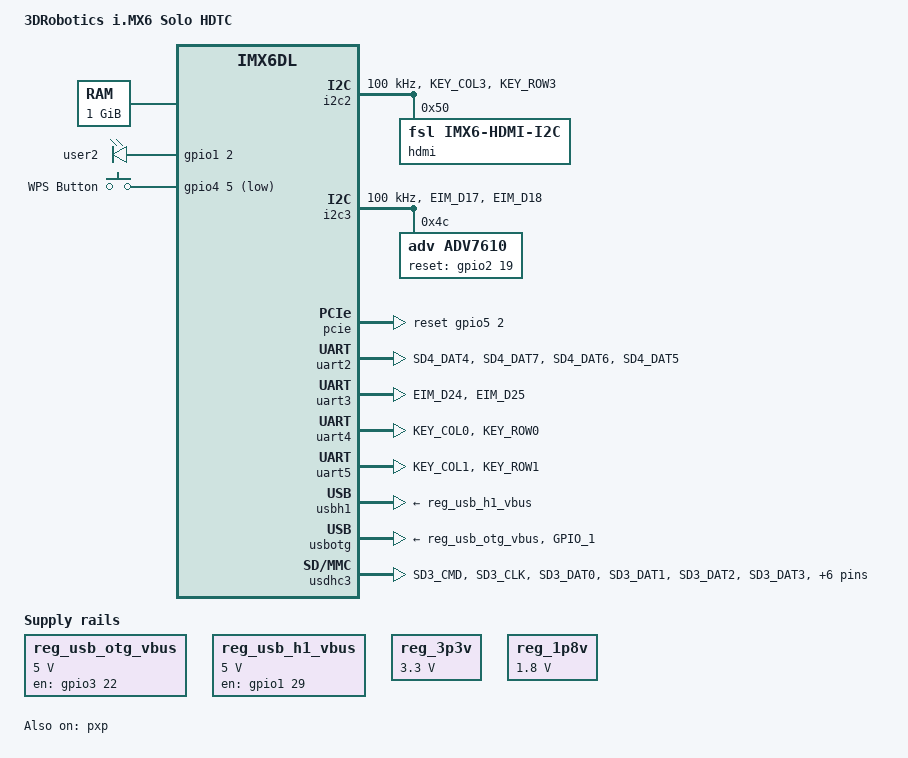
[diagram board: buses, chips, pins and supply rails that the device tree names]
/*
 * Copyright (C) 2013 Freescale Semiconductor, Inc.
 *
 * This program is free software; you can redistribute it and/or modify
 * it under the terms of the GNU General Public License version 2 as
 * published by the Free Software Foundation.
 */

/dts-v1/;

#include "imx6dl.dtsi"

/ {
	model = "3DRobotics i.MX6 Solo HDTC";
	compatible = "fsl,imx6dl-sabresd", "fsl,imx6dl";
};

&iomuxc {
	pinctrl-names = "default";
	pinctrl-0 = <&pinctrl_hog_1>;

  imx6solo-3dr-1080p {
    pinctrl_hog_1: hoggrp-1 {
      fsl,pins = <
        MX6QDL_PAD_GPIO_4__GPIO1_IO04   0x80000000
        MX6QDL_PAD_GPIO_5__GPIO1_IO05   0x80000000
        MX6QDL_PAD_EIM_CS1__GPIO2_IO24 0x80000000
        MX6QDL_PAD_EIM_A25__GPIO5_IO02 0x80000000
        MX6QDL_PAD_EIM_D23__GPIO3_IO23 0x80000000
        MX6QDL_PAD_EIM_D22__GPIO3_IO22  0x80000000
        MX6QDL_PAD_EIM_D16__GPIO3_IO16 0x80000000
        MX6QDL_PAD_EIM_DA9__GPIO3_IO09 0x80000000
        MX6QDL_PAD_GPIO_4__GPIO1_IO04 0x80000000
        MX6QDL_PAD_GPIO_5__GPIO1_IO05 0x80000000
        MX6QDL_PAD_EIM_D29__GPIO3_IO29 0x80000000
        MX6QDL_PAD_SD3_RST__GPIO7_IO08 0x80000000
        MX6QDL_PAD_GPIO_17__GPIO7_IO12 0x80000000
        MX6QDL_PAD_GPIO_9__GPIO1_IO09 0x80000000
        MX6QDL_PAD_GPIO_2__GPIO1_IO02 0x80000000
        MX6QDL_PAD_NANDF_CS3__GPIO6_IO16 0x80000000
        MX6QDL_PAD_NANDF_WP_B__GPIO6_IO09 0x80000000	
        MX6QDL_PAD_EIM_A19__GPIO2_IO19 0x80000000	
      >;
    };

    pinctrl_usbotg_1: usbotggrp-1 {
      fsl,pins = <
        MX6QDL_PAD_GPIO_1__USB_OTG_ID 0x17059
        >;
    };

    pinctrl_usdhc3_1: usdhc3grp-1 {
      fsl,pins = <
        MX6QDL_PAD_SD3_CMD__SD3_CMD    0x17059
        MX6QDL_PAD_SD3_CLK__SD3_CLK    0x10059
        MX6QDL_PAD_SD3_DAT0__SD3_DATA0 0x17059
        MX6QDL_PAD_SD3_DAT1__SD3_DATA1 0x17059
        MX6QDL_PAD_SD3_DAT2__SD3_DATA2 0x17059
        MX6QDL_PAD_SD3_DAT3__SD3_DATA3 0x17059
        MX6QDL_PAD_SD3_DAT4__SD3_DATA4 0x17059
        MX6QDL_PAD_SD3_DAT5__SD3_DATA5 0x17059
        MX6QDL_PAD_SD3_DAT6__SD3_DATA6 0x17059
        MX6QDL_PAD_SD3_DAT7__SD3_DATA7 0x17059
      >;
    };

    pinctrl_i2c1_2: i2c1grp-2 {
      fsl,pins = <
        MX6QDL_PAD_CSI0_DAT8__I2C1_SDA 0x4001b8b1
        MX6QDL_PAD_CSI0_DAT9__I2C1_SCL 0x4001b8b1
      >;
    };

    pinctrl_i2c3_1: i2c3grp-1 {
      fsl,pins = <
        MX6QDL_PAD_EIM_D17__I2C3_SCL 0x4001b8b1
        MX6QDL_PAD_EIM_D18__I2C3_SDA 0x4001b8b1
      >;
    };

    pinctrl_ipu1_5: ipu1grp-5 { /* bt.1120 16-bit */
      fsl,pins = <
        MX6QDL_PAD_EIM_D27__IPU1_CSI0_DATA00     0x000030B0 /*pulldown*/
        MX6QDL_PAD_EIM_D26__IPU1_CSI0_DATA01     0x000030B0 /*pulldown*/
        MX6QDL_PAD_EIM_D31__IPU1_CSI0_DATA02     0x80000000
        MX6QDL_PAD_EIM_D30__IPU1_CSI0_DATA03     0x80000000
        MX6QDL_PAD_CSI0_DAT4__IPU1_CSI0_DATA04   0x80000000
        MX6QDL_PAD_CSI0_DAT5__IPU1_CSI0_DATA05   0x80000000
        MX6QDL_PAD_CSI0_DAT6__IPU1_CSI0_DATA06   0x80000000
        MX6QDL_PAD_CSI0_DAT7__IPU1_CSI0_DATA07   0x80000000
        MX6QDL_PAD_CSI0_DAT8__IPU1_CSI0_DATA08   0x80000000
        MX6QDL_PAD_CSI0_DAT9__IPU1_CSI0_DATA09   0x80000000
        MX6QDL_PAD_CSI0_DAT10__IPU1_CSI0_DATA10  0x000030B0 /*pulldown*/
        MX6QDL_PAD_CSI0_DAT11__IPU1_CSI0_DATA11  0x000030B0 /*pulldown*/
        MX6QDL_PAD_CSI0_DAT12__IPU1_CSI0_DATA12  0x80000000
        MX6QDL_PAD_CSI0_DAT13__IPU1_CSI0_DATA13  0x80000000
        MX6QDL_PAD_CSI0_DAT14__IPU1_CSI0_DATA14  0x80000000
        MX6QDL_PAD_CSI0_DAT15__IPU1_CSI0_DATA15  0x80000000
        MX6QDL_PAD_CSI0_DAT16__IPU1_CSI0_DATA16  0x80000000
        MX6QDL_PAD_CSI0_DAT17__IPU1_CSI0_DATA17  0x80000000
        MX6QDL_PAD_CSI0_DAT18__IPU1_CSI0_DATA18  0x80000000
        MX6QDL_PAD_CSI0_DAT19__IPU1_CSI0_DATA19  0x80000000
        MX6QDL_PAD_CSI0_PIXCLK__IPU1_CSI0_PIXCLK 0x80000000
      >;
    };

    pinctrl_uart2_3: uart2grp-3 { /* DTE mode */
      fsl,pins = <
        MX6QDL_PAD_SD4_DAT4__UART2_RX_DATA   0x1b0b1
        MX6QDL_PAD_SD4_DAT7__UART2_TX_DATA   0x1b0b1
        MX6QDL_PAD_SD4_DAT6__UART2_CTS_B 0x1b0b1
        MX6QDL_PAD_SD4_DAT5__UART2_RTS_B 0x1b0b1
      >;
    };

    pinctrl_uart3_2: uart3grp-2 {
      fsl,pins = <
        MX6QDL_PAD_EIM_D24__UART3_TX_DATA 0x1b0b1
        MX6QDL_PAD_EIM_D25__UART3_RX_DATA 0x1b0b1
      >;
    };

    pinctrl_uart4_1: uart4grp-1 {
      fsl,pins = <
        MX6QDL_PAD_KEY_COL0__UART4_TX_DATA 0x1b0b1
        MX6QDL_PAD_KEY_ROW0__UART4_RX_DATA 0x1b0b1
      >;
    };

    pinctrl_uart5_1: uart5grp-1 {
      fsl,pins = <
        MX6QDL_PAD_KEY_COL1__UART5_TX_DATA 0x1b0b1
        MX6QDL_PAD_KEY_ROW1__UART5_RX_DATA 0x1b0b1
      >;
    };

    pinctrl_i2c2_2: i2c2grp-2 {
      fsl,pins = <
        MX6QDL_PAD_KEY_COL3__I2C2_SCL 0x4001b8b1
        MX6QDL_PAD_KEY_ROW3__I2C2_SDA 0x4001b8b1
      >;
    };
  };
};

/ {
	memory {
		reg = <0x10000000 0x40000000>;
	};

	leds {
		compatible = "gpio-leds";
		
		led1: user2 {
			label = "user2";
			gpios = <&gpio1 2 GPIO_ACTIVE_HIGH>;
			default-state = "off";
			linux,default-trigger = "phy0assoc";
		};
	};

	regulators {
		compatible = "simple-bus";

		reg_usb_otg_vbus: usb_otg_vbus {
			compatible = "regulator-fixed";
			regulator-name = "usb_otg_vbus";
			regulator-min-microvolt = <5000000>;
			regulator-max-microvolt = <5000000>;
			gpio = <&gpio3 22 0>;
			enable-active-high;
		};

		reg_usb_h1_vbus: usb_h1_vbus {
			compatible = "regulator-fixed";
			regulator-name = "usb_h1_vbus";
			regulator-min-microvolt = <5000000>;
			regulator-max-microvolt = <5000000>;
			gpio = <&gpio1 29 0>;
			enable-active-high;
		};

		reg_3p3v: 3p3v {
			compatible = "regulator-fixed";
			regulator-name = "3P3V";
			regulator-min-microvolt = <3300000>;
			regulator-max-microvolt = <3300000>;
			regulator-always-on;
		};

		reg_1p8v: 1p8v {
			compatible = "regulator-fixed";
			regulator-name = "1P8V";
			regulator-min-microvolt = <1800000>;
			regulator-max-microvolt = <1800000>;
			regulator-always-on;
		};

	};

	gpio-keys {
		compatible = "gpio-keys";
		
		wps-pairing {
			label = "WPS Button";
			gpios = <&gpio4 5 GPIO_ACTIVE_LOW>;
			linux,code = <0x211>; //KEY_WPS_BUTTON
		};
	};

	v4l2_cap_0 {
		compatible = "fsl,imx6q-v4l2-capture";
		ipu_id = <0>;
		csi_id = <0>;
		mclk_source = <0>;
		status = "okay";
	};
};

&cpu0 {
        arm-supply = <&reg_arm>;
        soc-supply = <&reg_soc>;
        pu-supply = <&reg_pu>; /* use pu_dummy if VDDSOC share with VDDPU */
};

&vpu {
        pu-supply = <&reg_pu>; /* ldo-bypass:use pu_dummy if VDDSOC share with VDDPU */
};

&gpc {
	fsl,cpu_pupscr_sw2iso = <0xf>;
	fsl,cpu_pupscr_sw = <0xf>;
	fsl,cpu_pdnscr_iso2sw = <0x1>;
	fsl,cpu_pdnscr_iso = <0x1>;
	fsl,ldo-bypass = <0>; /* use ldo-bypass, u-boot will check it and configure */
	fsl,wdog-reset = <1>; /* watchdog select of reset source */
	pu-supply = <&reg_pu>; /* ldo-bypass:use pu_dummy if VDDSOC share with VDDPU */
};

&i2c2 {
	clock-frequency = <100000>;
	pinctrl-names = "default";
	pinctrl-0 = <&pinctrl_i2c2_2>;
	status = "okay";

	hdmi: edid@50 {
		compatible = "fsl,imx6-hdmi-i2c";
		reg = <0x50>;
	};
};

&i2c3 {
        clock-frequency = <100000>;
        pinctrl-names = "default";
        pinctrl-0 = <&pinctrl_i2c3_1>;
        status = "okay";

	adv7610: adv7610@4C {
		compatible = "adv,adv7610";
		reg = <0x4C>;
		pinctrl-names = "default";
		pinctrl-0 = <&pinctrl_ipu1_5>;
		csi_id = <0>;
		ipu_id = <0>;
        reset-gpio = <&gpio2 19 0>;
	};

};



&pcie {
	//power-on-gpio = <&gpio5 20 0>;
	reset-gpio = <&gpio5 2 0>;
    wake-up-gpio = <&gpio7 12 0>;
	status = "okay";
};

/*
&uart1 {
	pinctrl-names = "default";
	pinctrl-0 = <&pinctrl_uart1_1>;
	status = "okay";
};
*/
&uart2 {
        pinctrl-names = "default";
        //pinctrl-0 = <&pinctrl_uart2_4>;
        pinctrl-0 = <&pinctrl_uart2_3>; //RTS and CTS
	//pinctrl-assert-gpios = <&gpio2 13 GPIO_ACTIVE_HIGH>,
	//		       <&gpio2 14 GPIO_ACTIVE_HIGH>;
	fsl,uart-has-rtscts;
        status = "okay";
};

&uart3 {
        pinctrl-names = "default";
        pinctrl-0 = <&pinctrl_uart3_2>;
        status = "okay";
};

&uart4 {
        pinctrl-names = "default";
        pinctrl-0 = <&pinctrl_uart4_1>;
        status = "okay";
};

&uart5 {
        pinctrl-names = "default";
        pinctrl-0 = <&pinctrl_uart5_1>;
        status = "okay";
};

&usbh1 {
	vbus-supply = <&reg_usb_h1_vbus>;
	status = "okay";
};

&usbotg {
	vbus-supply = <&reg_usb_otg_vbus>;
	pinctrl-names = "default";
	pinctrl-0 = <&pinctrl_usbotg_1>;
	disable-over-current;
	status = "okay";
};

&usdhc3 {
	pinctrl-names = "default";
	pinctrl-0 = <&pinctrl_usdhc3_1>;
	cd-gpios = <&gpio2 0 0>;
	wp-gpios = <&gpio2 1 0>;
	no-1-8-v;
	keep-power-in-suspend;
	enable-sdio-wakeup;
	status = "okay";
};

&pxp {
	status = "okay";
};
